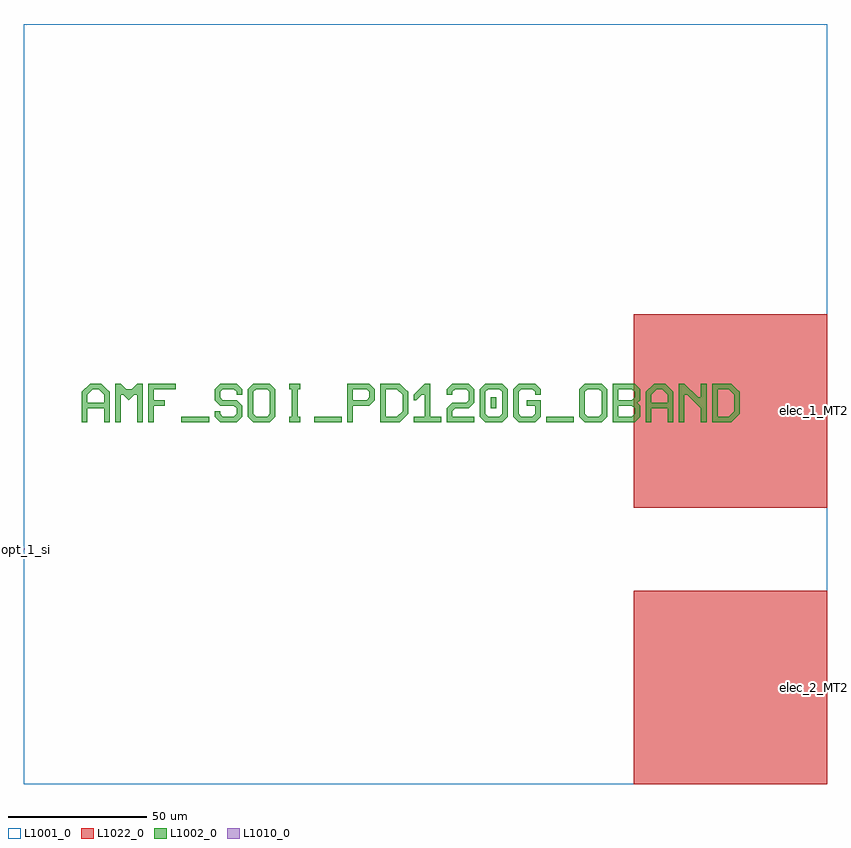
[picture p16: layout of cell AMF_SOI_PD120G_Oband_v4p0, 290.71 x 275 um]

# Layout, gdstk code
import gdstk
lib = gdstk.Library(unit=1e-6, precision=1e-09)
def R(c, l, rs):  # rectangles x0, y0, x1, y1
    for r in rs: c.add(gdstk.rectangle(r[:2], r[2:], *l))
def P(c, l, *ps):  # polygons
    for p in ps: c.add(gdstk.Polygon(p, *l))
L1001_0 = (1001, 0)
L1002_0 = (1002, 0)
L1010_0 = (1010, 0)
L1022_0 = (1022, 0)

amf_soi_pd120g_oband_v4p = lib.new_cell('AMF_SOI_PD120G_Oband_v4p0')
R(amf_soi_pd120g_oband_v4p, L1001_0, [(0,-85,290.71,190)])
R(amf_soi_pd120g_oband_v4p, L1002_0, [(57.042,45.909,67.042,47.909), (105.042,45.909,115.042,47.909), (189.042,45.909,199.042,47.909), (169.042,50.909,171.042,54.909)])
P(amf_soi_pd120g_oband_v4p, L1002_0, [(21.042,45.909),(21.042,56.909),(24.042,59.909),(28.042,59.909),(30.042,57.909),(25.042,57.909),(23.042,55.909),(23.042,52.909),(29.042,52.909),(29.042,55.909),(27.042,57.909),(30.042,57.909),(31.042,56.909),(31.042,45.909),(29.042,45.909),(29.042,50.909),(23.042,50.909),(23.042,45.909)],
  [(33.042,45.909),(33.042,59.909),(35.042,59.909),(37.042,57.909),(39.042,57.909),(41.042,59.909),(43.042,59.909),(43.042,45.909),(41.042,45.909),(41.042,55.909),(40.042,55.909),(38.042,53.909),(36.042,55.909),(35.042,55.909),(35.042,45.909)],
  [(45.042,45.909),(45.042,59.909),(55.042,59.909),(55.042,57.909),(47.042,57.909),(47.042,53.909),(51.042,53.909),(51.042,51.909),(47.042,51.909),(47.042,45.909)],
  [(71.042,45.909),(69.042,47.909),(69.042,49.909),(71.042,49.909),(71.042,48.909),(72.042,47.909),(76.042,47.909),(77.042,48.909),(77.042,50.909),(76.042,51.909),(71.042,51.909),(69.042,53.909),(69.042,57.909),(71.042,59.909),(77.042,59.909),(79.042,57.909),(79.042,55.909),(77.042,55.909),(77.042,56.909),(76.042,57.909),(72.042,57.909),(71.042,56.909),(71.042,54.909),(72.042,53.909),(77.042,53.909),(79.042,51.909),(79.042,47.909),(77.042,45.909)],
  [(83.042,45.909),(81.042,47.909),(81.042,57.909),(83.042,59.909),(89.042,59.909),(91.042,57.909),(91.042,52.909),(89.042,52.909),(89.042,56.909),(88.042,57.909),(84.042,57.909),(83.042,56.909),(83.042,48.909),(84.042,47.909),(88.042,47.909),(89.042,48.909),(89.042,52.909),(91.042,52.909),(91.042,47.909),(89.042,45.909)],
  [(96.042,45.909),(96.042,47.909),(97.042,47.909),(97.042,57.909),(96.042,57.909),(96.042,59.909),(100.042,59.909),(100.042,57.909),(99.042,57.909),(99.042,47.909),(100.042,47.909),(100.042,45.909)],
  [(117.042,45.909),(117.042,59.909),(125.042,59.909),(127.042,57.909),(127.042,53.909),(125.042,51.909),(119.042,51.909),(119.042,53.909),(124.042,53.909),(125.042,54.909),(125.042,56.909),(124.042,57.909),(119.042,57.909),(119.042,45.909)],
  [(129.042,45.909),(129.042,59.909),(136.042,59.909),(138.042,57.909),(131.042,57.909),(131.042,47.909),(135.042,47.909),(137.042,49.909),(137.042,55.909),(135.042,57.909),(138.042,57.909),(139.042,56.909),(139.042,48.909),(136.042,45.909)],
  [(141.042,45.909),(141.042,47.909),(145.042,47.909),(145.042,55.909),(144.042,55.909),(142.042,53.909),(141.042,53.909),(141.042,55.909),(145.042,59.909),(147.042,59.909),(147.042,47.909),(151.042,47.909),(151.042,45.909)],
  [(153.042,45.909),(153.042,50.909),(155.042,52.909),(160.042,52.909),(161.042,53.909),(161.042,56.909),(160.042,57.909),(156.042,57.909),(155.042,56.909),(155.042,55.909),(153.042,55.909),(153.042,57.909),(155.042,59.909),(161.042,59.909),(163.042,57.909),(163.042,52.909),(161.042,50.909),(156.042,50.909),(155.042,49.909),(155.042,47.909),(163.042,47.909),(163.042,45.909)],
  [(167.042,45.909),(165.042,47.909),(165.042,57.909),(167.042,59.909),(173.042,59.909),(175.042,57.909),(168.042,57.909),(167.042,56.909),(167.042,48.909),(168.042,47.909),(172.042,47.909),(173.042,48.909),(173.042,56.909),(172.042,57.909),(175.042,57.909),(175.042,47.909),(173.042,45.909)],
  [(179.042,45.909),(177.042,47.909),(177.042,57.909),(179.042,59.909),(185.042,59.909),(187.042,57.909),(187.042,55.909),(185.042,55.909),(185.042,56.909),(184.042,57.909),(180.042,57.909),(179.042,56.909),(179.042,48.909),(180.042,47.909),(184.042,47.909),(185.042,48.909),(185.042,51.909),(182.042,51.909),(182.042,53.909),(187.042,53.909),(187.042,47.909),(185.042,45.909)],
  [(203.042,45.909),(201.042,47.909),(201.042,57.909),(203.042,59.909),(209.042,59.909),(211.042,57.909),(211.042,52.909),(209.042,52.909),(209.042,56.909),(208.042,57.909),(204.042,57.909),(203.042,56.909),(203.042,48.909),(204.042,47.909),(208.042,47.909),(209.042,48.909),(209.042,52.909),(211.042,52.909),(211.042,47.909),(209.042,45.909)],
  [(213.042,45.909),(213.042,59.909),(221.042,59.909),(223.042,57.909),(215.042,57.909),(215.042,53.909),(220.042,53.909),(221.042,54.909),(221.042,56.909),(220.042,57.909),(223.042,57.909),(223.042,53.909),(222.042,52.909),(223.042,51.909),(215.042,51.909),(215.042,47.909),(220.042,47.909),(221.042,48.909),(221.042,50.909),(220.042,51.909),(223.042,51.909),(223.042,47.909),(221.042,45.909)],
  [(225.042,45.909),(225.042,56.909),(228.042,59.909),(232.042,59.909),(234.042,57.909),(229.042,57.909),(227.042,55.909),(227.042,52.909),(233.042,52.909),(233.042,55.909),(231.042,57.909),(234.042,57.909),(235.042,56.909),(235.042,45.909),(233.042,45.909),(233.042,50.909),(227.042,50.909),(227.042,45.909)],
  [(237.042,45.909),(237.042,59.909),(239.042,59.909),(244.042,54.909),(245.042,54.909),(245.042,59.909),(247.042,59.909),(247.042,45.909),(245.042,45.909),(245.042,50.909),(240.042,55.909),(239.042,55.909),(239.042,45.909)],
  [(249.042,45.909),(249.042,59.909),(256.042,59.909),(258.042,57.909),(251.042,57.909),(251.042,47.909),(255.042,47.909),(257.042,49.909),(257.042,55.909),(255.042,57.909),(258.042,57.909),(259.042,56.909),(259.042,48.909),(256.042,45.909)])
R(amf_soi_pd120g_oband_v4p, L1010_0, [(0,-0.205,0.41,0.205)])
R(amf_soi_pd120g_oband_v4p, L1022_0, [(220.71,-85,290.71,-15), (220.71,15,290.71,85)])
amf_soi_pd120g_oband_v4p.add(gdstk.Label('opt_1_si', (0,0), layer=1010, texttype=0))
amf_soi_pd120g_oband_v4p.add(gdstk.Label('elec_1_MT2', (290.71,50), layer=1022, texttype=0))
amf_soi_pd120g_oband_v4p.add(gdstk.Label('elec_2_MT2', (290.71,-50), layer=1022, texttype=0))

lib.write_gds('AMF_SOI_PD120G_Oband_v4p0.gds')
